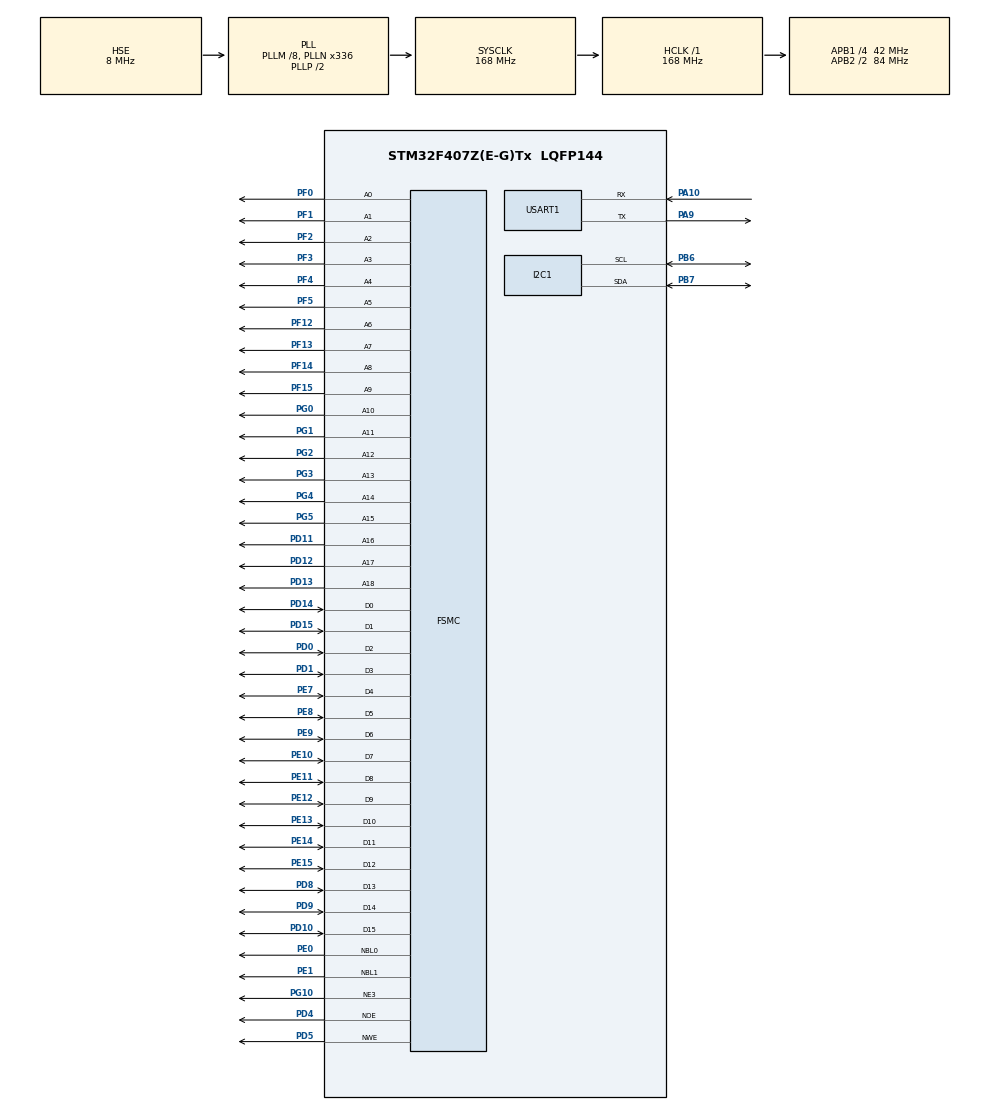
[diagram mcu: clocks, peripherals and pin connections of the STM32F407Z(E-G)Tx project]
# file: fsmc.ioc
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FSMC.AddressSetupTime3=0
FSMC.BusTurnAroundDuration3=0
FSMC.DataSetupTime3=8
FSMC.WriteOperation3=FSMC_WRITE_OPERATION_ENABLE
Mcu.Family=STM32F4
Mcu.Name=STM32F407Z(E-G)Tx
Mcu.Package=LQFP144
NVIC.PriorityGroup=NVIC_PRIORITYGROUP_4
PA10.Mode=Asynchronous
PA10.Signal=USART1_RX
PA9.Mode=Asynchronous
PA9.Signal=USART1_TX
PB6.Mode=I2C
PB6.Signal=I2C1_SCL
PB7.Mode=I2C
PB7.Signal=I2C1_SDA
PC14-OSC32_IN.Mode=LSE-External-Oscillator
PC14-OSC32_IN.Signal=RCC_OSC32_IN
PC15-OSC32_OUT.Mode=LSE-External-Oscillator
PC15-OSC32_OUT.Signal=RCC_OSC32_OUT
PD0.Signal=FSMC_D2_DA2
PD1.Signal=FSMC_D3_DA3
PD10.Signal=FSMC_D15_DA15
PD11.Signal=FSMC_A16_CLE
PD12.Signal=FSMC_A17_ALE
PD13.Signal=FSMC_A18
PD14.Signal=FSMC_D0_DA0
PD15.Signal=FSMC_D1_DA1
PD4.Signal=FSMC_NOE
PD5.Signal=FSMC_NWE
PD8.Signal=FSMC_D13_DA13
PD9.Signal=FSMC_D14_DA14
PE0.Signal=FSMC_NBL0
PE1.Signal=FSMC_NBL1
PE10.Signal=FSMC_D7_DA7
PE11.Signal=FSMC_D8_DA8
PE12.Signal=FSMC_D9_DA9
PE13.Signal=FSMC_D10_DA10
PE14.Signal=FSMC_D11_DA11
PE15.Signal=FSMC_D12_DA12
PE7.Signal=FSMC_D4_DA4
PE8.Signal=FSMC_D5_DA5
PE9.Signal=FSMC_D6_DA6
PF0.Signal=FSMC_A0
PF1.Signal=FSMC_A1
PF12.Signal=FSMC_A6
PF13.Signal=FSMC_A7
PF14.Signal=FSMC_A8
PF15.Signal=FSMC_A9
PF2.Signal=FSMC_A2
PF3.Signal=FSMC_A3
PF4.Signal=FSMC_A4
PF5.Signal=FSMC_A5
PG0.Signal=FSMC_A10
PG1.Signal=FSMC_A11
PG10.Mode=NorPsramChipSelect3_3
PG10.Signal=FSMC_NE3
PG2.Signal=FSMC_A12
PG3.Signal=FSMC_A13
PG4.Signal=FSMC_A14
PG5.Signal=FSMC_A15
PH0-OSC_IN.Mode=HSE-External-Oscillator
PH0-OSC_IN.Signal=RCC_OSC_IN
PH1-OSC_OUT.Mode=HSE-External-Oscillator
PH1-OSC_OUT.Signal=RCC_OSC_OUT
ProjectManager.HeapSize=0x200
ProjectManager.StackSize=0x400
ProjectManager.TargetToolchain=STM32CubeIDE
RCC.48MHZClocksFreq_Value=48000000
RCC.AHBFreq_Value=168000000
RCC.APB1CLKDivider=RCC_HCLK_DIV4
RCC.APB1Freq_Value=42000000
RCC.APB1TimFreq_Value=84000000
RCC.APB2CLKDivider=RCC_HCLK_DIV2
RCC.APB2Freq_Value=84000000
RCC.APB2TimFreq_Value=168000000
RCC.CortexFreq_Value=168000000
RCC.HCLKFreq_Value=168000000
RCC.HSE_VALUE=8000000
RCC.HSI_VALUE=16000000
RCC.PLLM=8
RCC.PLLN=336
RCC.PLLQ=7
RCC.PLLSourceVirtual=RCC_PLLSOURCE_HSE
RCC.SYSCLKFreq_VALUE=168000000
RCC.SYSCLKSource=RCC_SYSCLKSOURCE_PLLCLK
RCC.VCOOutputFreq_Value=336000000
SH.FSMC_A0.0=FSMC_A0,19b-a3
SH.FSMC_A1.0=FSMC_A1,19b-a3
SH.FSMC_A10.0=FSMC_A10,19b-a3
SH.FSMC_A11.0=FSMC_A11,19b-a3
SH.FSMC_A12.0=FSMC_A12,19b-a3
SH.FSMC_A13.0=FSMC_A13,19b-a3
SH.FSMC_A14.0=FSMC_A14,19b-a3
SH.FSMC_A15.0=FSMC_A15,19b-a3
SH.FSMC_A16_CLE.0=FSMC_A16,19b-a3
SH.FSMC_A17_ALE.0=FSMC_A17,19b-a3
SH.FSMC_A18.0=FSMC_A18,19b-a3
SH.FSMC_A2.0=FSMC_A2,19b-a3
SH.FSMC_A3.0=FSMC_A3,19b-a3
SH.FSMC_A4.0=FSMC_A4,19b-a3
SH.FSMC_A5.0=FSMC_A5,19b-a3
SH.FSMC_A6.0=FSMC_A6,19b-a3
SH.FSMC_A7.0=FSMC_A7,19b-a3
SH.FSMC_A8.0=FSMC_A8,19b-a3
SH.FSMC_A9.0=FSMC_A9,19b-a3
SH.FSMC_D0_DA0.0=FSMC_D0,16b-d3
SH.FSMC_D10_DA10.0=FSMC_D10,16b-d3
SH.FSMC_D11_DA11.0=FSMC_D11,16b-d3
SH.FSMC_D12_DA12.0=FSMC_D12,16b-d3
SH.FSMC_D13_DA13.0=FSMC_D13,16b-d3
SH.FSMC_D14_DA14.0=FSMC_D14,16b-d3
SH.FSMC_D15_DA15.0=FSMC_D15,16b-d3
SH.FSMC_D1_DA1.0=FSMC_D1,16b-d3
SH.FSMC_D2_DA2.0=FSMC_D2,16b-d3
SH.FSMC_D3_DA3.0=FSMC_D3,16b-d3
SH.FSMC_D4_DA4.0=FSMC_D4,16b-d3
SH.FSMC_D5_DA5.0=FSMC_D5,16b-d3
SH.FSMC_D6_DA6.0=FSMC_D6,16b-d3
SH.FSMC_D7_DA7.0=FSMC_D7,16b-d3
SH.FSMC_D8_DA8.0=FSMC_D8,16b-d3
SH.FSMC_D9_DA9.0=FSMC_D9,16b-d3
SH.FSMC_NBL0.0=FSMC_NBL0,2ByteEnable3
SH.FSMC_NBL1.0=FSMC_NBL1,2ByteEnable3
SH.FSMC_NOE.0=FSMC_NOE,Sram3
SH.FSMC_NWE.0=FSMC_NWE,Sram3
USART1.VirtualMode=VM_ASYNC
VP_RNG_VS_RNG.Mode=RNG_Activate
board=custom

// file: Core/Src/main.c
/* USER CODE BEGIN Header */
/**
 ******************************************************************************
 * @file           : main.c
 * @brief          : Main program body
 ******************************************************************************
 * @attention
 *
 * Copyright (c) 2024 STMicroelectronics.
 * All rights reserved.
 *
 * This software is licensed under terms that can be found in the LICENSE file
 * in the root directory of this software component.
 * If no LICENSE file comes with this software, it is provided AS-IS.
 *
 ******************************************************************************
 */
/* USER CODE END Header */
#include "main.h"

/* USER CODE BEGIN Includes */
#include "i2c-lcd.h"
#include <stdio.h>
#define SRAM_ADDR_BEGIN 0x68000000UL
#define SRAM_ADDR_HALF 0x68080000UL
#define SRAM_ADDR_END 0x680FFFFFUL
//auto * paddr=(uint32_t*)(SRAM_ADDR_BEGIN);

/* USER CODE END Includes */

I2C_HandleTypeDef hi2c1;

RNG_HandleTypeDef hrng;

UART_HandleTypeDef huart1;

SRAM_HandleTypeDef hsram3;

/* USER CODE BEGIN PV */

#ifdef __GNUC__
#define PUTCHAR_PROTOTYPE int __io_putchar(int ch)
#else
#define PUTCHAR_PROTOTYPE int fputc(int ch, FILE *f)
#endif
PUTCHAR_PROTOTYPE {
//此处用的是USART2
//你在使用时仅仅需要把’USART2‘改成你的串口就可以�???????????????
	while ((USART1->SR & 0X40) == 0)
		;
	USART1->DR = (uint8_t) ch;
	return ch;
}

/* USER CODE END PV */

void SystemClock_Config(void);
static void MX_GPIO_Init(void);
static void MX_FSMC_Init(void);
static void MX_I2C1_Init(void);
static void MX_USART1_UART_Init(void);
static void MX_RNG_Init(void);

int main(void)
{
  /* USER CODE BEGIN 1 */
	SCB->VTOR=APPLICATION_ADDRESS;

  /* USER CODE END 1 */

  /* MCU Configuration--------------------------------------------------------*/

  /* Reset of all peripherals, Initializes the Flash interface and the Systick. */
  HAL_Init();

  /* Configure the system clock */
  SystemClock_Config();

  /* Initialize all configured peripherals */
  MX_GPIO_Init();
  MX_FSMC_Init();
  MX_I2C1_Init();
  MX_USART1_UART_Init();
  MX_RNG_Init();
  /* USER CODE BEGIN 2 */
	lcd_init();
	lcd_put_cur(0, 0);
	lcd_send_string("123333");
	lcd_put_cur(1, 0);
	lcd_send_string("6666");
	char s[16];
  /* USER CODE END 2 */

  /* Infinite loop */
  /* USER CODE BEGIN WHILE */
	static uint32_t *address = (uint32_t*)0x68000000;
	*(uint16_t*)(address)=66;
	*(uint16_t*)(address)=77;

	uint32_t data1 ;
	uint32_t data=20;
	while (1) {
    /* USER CODE END WHILE */

    /* USER CODE BEGIN 3 */
		for(int i=0;i<5;i++,data++){
			// because address and *address is different
		if (HAL_SRAM_Write_32b(&hsram3, address+1, &data, sizeof(uint32_t)) == HAL_OK) {
			printf("write data %lu sizeof u32 %d\n", data,sizeof(uint32_t));

		}else{

			printf("wrong write");

		}
		HAL_Delay(100);
		if (HAL_SRAM_Read_32b(&hsram3, address+1, &data1,sizeof(uint32_t)) == HAL_OK) {
			printf("read data %lu \n", data1);

		}else{

			printf("wrong read");
		}
		data=i*4;
		HAL_Delay(2000);

		}
		*(uint16_t*)(address)+=1;

		data1=*(uint16_t*)(address);
		HAL_Delay(2000);

		printf("%hu \n", data1);

//
		//HAL_Delay(2000);

		//printf("helloworld\n");

	}
  /* USER CODE END 3 */
}

void SystemClock_Config(void)
{
  RCC_OscInitTypeDef RCC_OscInitStruct = {0};
  RCC_ClkInitTypeDef RCC_ClkInitStruct = {0};

  /** Configure the main internal regulator output voltage
  */
  __HAL_RCC_PWR_CLK_ENABLE();
  __HAL_PWR_VOLTAGESCALING_CONFIG(PWR_REGULATOR_VOLTAGE_SCALE1);
  /** Initializes the RCC Oscillators according to the specified parameters
  * in the RCC_OscInitTypeDef structure.
  */
  RCC_OscInitStruct.OscillatorType = RCC_OSCILLATORTYPE_HSE;
  RCC_OscInitStruct.HSEState = RCC_HSE_ON;
  RCC_OscInitStruct.PLL.PLLState = RCC_PLL_ON;
  RCC_OscInitStruct.PLL.PLLSource = RCC_PLLSOURCE_HSE;
  RCC_OscInitStruct.PLL.PLLM = 8;
  RCC_OscInitStruct.PLL.PLLN = 336;
  RCC_OscInitStruct.PLL.PLLP = RCC_PLLP_DIV2;
  RCC_OscInitStruct.PLL.PLLQ = 7;
  if (HAL_RCC_OscConfig(&RCC_OscInitStruct) != HAL_OK)
  {
    Error_Handler();
  }
  /** Initializes the CPU, AHB and APB buses clocks
  */
  RCC_ClkInitStruct.ClockType = RCC_CLOCKTYPE_HCLK|RCC_CLOCKTYPE_SYSCLK
                              |RCC_CLOCKTYPE_PCLK1|RCC_CLOCKTYPE_PCLK2;
  RCC_ClkInitStruct.SYSCLKSource = RCC_SYSCLKSOURCE_PLLCLK;
  RCC_ClkInitStruct.AHBCLKDivider = RCC_SYSCLK_DIV1;
  RCC_ClkInitStruct.APB1CLKDivider = RCC_HCLK_DIV4;
  RCC_ClkInitStruct.APB2CLKDivider = RCC_HCLK_DIV2;

  if (HAL_RCC_ClockConfig(&RCC_ClkInitStruct, FLASH_LATENCY_5) != HAL_OK)
  {
    Error_Handler();
  }
}

static void MX_I2C1_Init(void)
{

  hi2c1.Instance = I2C1;
  hi2c1.Init.ClockSpeed = 100000;
  hi2c1.Init.DutyCycle = I2C_DUTYCYCLE_2;
  hi2c1.Init.OwnAddress1 = 0;
  hi2c1.Init.AddressingMode = I2C_ADDRESSINGMODE_7BIT;
  hi2c1.Init.DualAddressMode = I2C_DUALADDRESS_DISABLE;
  hi2c1.Init.OwnAddress2 = 0;
  hi2c1.Init.GeneralCallMode = I2C_GENERALCALL_DISABLE;
  hi2c1.Init.NoStretchMode = I2C_NOSTRETCH_DISABLE;
  if (HAL_I2C_Init(&hi2c1) != HAL_OK)
  {
    Error_Handler();
  }

}

static void MX_RNG_Init(void)
{

  hrng.Instance = RNG;
  if (HAL_RNG_Init(&hrng) != HAL_OK)
  {
    Error_Handler();
  }

}

static void MX_USART1_UART_Init(void)
{

  huart1.Instance = USART1;
  huart1.Init.BaudRate = 115200;
  huart1.Init.WordLength = UART_WORDLENGTH_8B;
  huart1.Init.StopBits = UART_STOPBITS_1;
  huart1.Init.Parity = UART_PARITY_NONE;
  huart1.Init.Mode = UART_MODE_TX_RX;
  huart1.Init.HwFlowCtl = UART_HWCONTROL_NONE;
  huart1.Init.OverSampling = UART_OVERSAMPLING_16;
  if (HAL_UART_Init(&huart1) != HAL_OK)
  {
    Error_Handler();
  }

}

static void MX_GPIO_Init(void)
{

  /* GPIO Ports Clock Enable */
  __HAL_RCC_GPIOC_CLK_ENABLE();
  __HAL_RCC_GPIOF_CLK_ENABLE();
  __HAL_RCC_GPIOH_CLK_ENABLE();
  __HAL_RCC_GPIOG_CLK_ENABLE();
  __HAL_RCC_GPIOE_CLK_ENABLE();
  __HAL_RCC_GPIOD_CLK_ENABLE();
  __HAL_RCC_GPIOA_CLK_ENABLE();
  __HAL_RCC_GPIOB_CLK_ENABLE();

}

/* FSMC initialization function */
static void MX_FSMC_Init(void)
{

  FSMC_NORSRAM_TimingTypeDef Timing = {0};

  /** Perform the SRAM3 memory initialization sequence
  */
  hsram3.Instance = FSMC_NORSRAM_DEVICE;
  hsram3.Extended = FSMC_NORSRAM_EXTENDED_DEVICE;
  /* hsram3.Init */
  hsram3.Init.NSBank = FSMC_NORSRAM_BANK3;
  hsram3.Init.DataAddressMux = FSMC_DATA_ADDRESS_MUX_DISABLE;
  hsram3.Init.MemoryType = FSMC_MEMORY_TYPE_SRAM;
  hsram3.Init.MemoryDataWidth = FSMC_NORSRAM_MEM_BUS_WIDTH_16;
  hsram3.Init.BurstAccessMode = FSMC_BURST_ACCESS_MODE_DISABLE;
  hsram3.Init.WaitSignalPolarity = FSMC_WAIT_SIGNAL_POLARITY_LOW;
  hsram3.Init.WrapMode = FSMC_WRAP_MODE_DISABLE;
  hsram3.Init.WaitSignalActive = FSMC_WAIT_TIMING_BEFORE_WS;
  hsram3.Init.WriteOperation = FSMC_WRITE_OPERATION_ENABLE;
  hsram3.Init.WaitSignal = FSMC_WAIT_SIGNAL_DISABLE;
  hsram3.Init.ExtendedMode = FSMC_EXTENDED_MODE_DISABLE;
  hsram3.Init.AsynchronousWait = FSMC_ASYNCHRONOUS_WAIT_DISABLE;
  hsram3.Init.WriteBurst = FSMC_WRITE_BURST_DISABLE;
  hsram3.Init.PageSize = FSMC_PAGE_SIZE_NONE;
  /* Timing */
  Timing.AddressSetupTime = 0;
  Timing.AddressHoldTime = 15;
  Timing.DataSetupTime = 8;
  Timing.BusTurnAroundDuration = 0;
  Timing.CLKDivision = 16;
  Timing.DataLatency = 17;
  Timing.AccessMode = FSMC_ACCESS_MODE_A;
  /* ExtTiming */

  if (HAL_SRAM_Init(&hsram3, &Timing, NULL) != HAL_OK)
  {
    Error_Handler( );
  }

}

void Error_Handler(void)
{
	__disable_irq();
	while (1) {
	}
}
